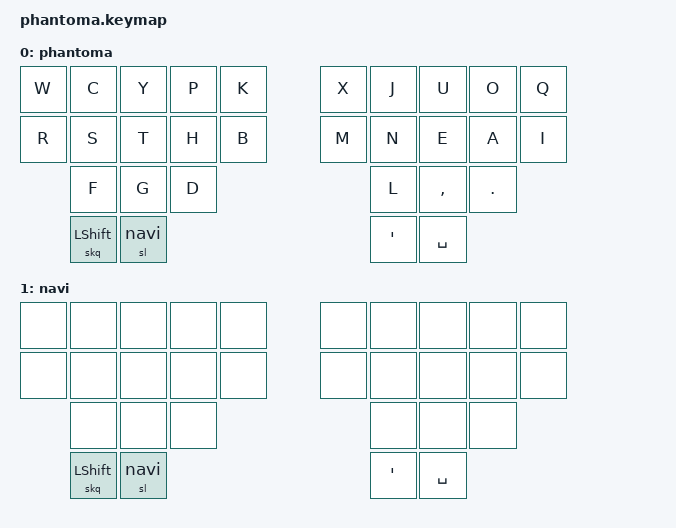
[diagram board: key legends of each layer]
/*
 * Copyright (c) 2020 The ZMK Contributors
 *
 * SPDX-License-Identifier: MIT
 */

#include <behaviors.dtsi>
#include <dt-bindings/zmk/keys.h>
#include <dt-bindings/zmk/bt.h>

#define phantoma 0
#define navi 1

/ {
    combos {
        #include "combos.dtsi"
    };
    
    behaviors {
        skq: sticky_key_quick_release {
            compatible = "zmk,behavior-sticky-key";
            label = "STICKY_KEY_QUICK_RELEASE";
            #binding-cells = <1>;
            bindings = <&kp>;
            quick-release;
            release-after-ms = <1000>;
        };
    };

    keymap {
        compatible = "zmk,keymap";
                
        phantoma_layer {
            label = "phantoma";
            bindings = <
                &kp W &kp C &kp Y &kp P &kp K        &kp X &kp J &kp U     &kp O    &kp Q 
                &kp R &kp S &kp T &kp H &kp B        &kp M &kp N &kp E     &kp A    &kp I
                      &kp F &kp G &kp D                    &kp L &kp COMMA &kp DOT
                        &skq LSHFT &sl navi                  &kp SQT &kp SPACE  
            >;
        };       
                 
        navi_layer {
            label = "navi";
            bindings = <
                &none &none &none &none &none	    &none &none &none &none &none
                &none &none &none &none &none	    &none &none &none &none &none
                      &none &none &none 	    	  &none &none &none
                        &skq LSHFT &sl navi                  &kp SQT &kp SPACE  
            >;
        };
    };
};
